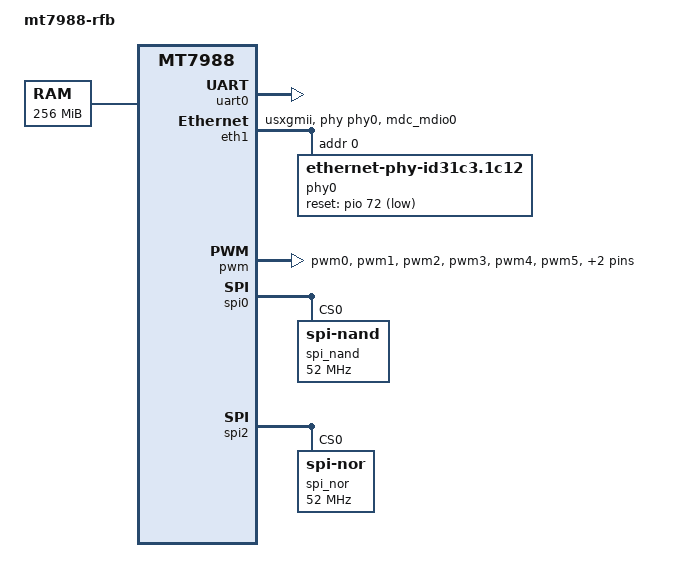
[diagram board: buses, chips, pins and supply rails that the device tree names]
// SPDX-License-Identifier: GPL-2.0
/*
 * Copyright (c) 2022 MediaTek Inc.
 * Author: Sam Shih <sam.shih@mediatek.com>
 */

/dts-v1/;
#include "mt7988.dtsi"
#include <dt-bindings/gpio/gpio.h>

/ {
	model = "mt7988-rfb";
	compatible = "mediatek,mt7988-rfb";
	chosen {
		stdout-path = &uart0;
	};

	memory@40000000 {
		device_type = "memory";
		reg = <0 0x40000000 0 0x10000000>;
	};
};

&uart0 {
	status = "okay";
};

&eth1 {
	status = "okay";
	pinctrl-names = "default";
	pinctrl-0 = <&mdio_pins>;
	phy-mode = "usxgmii";
	phy-handle = <&phy0>;

	mdio {
		clock-frequency = <10500000>;
	};

	phy0: eth-phy@0 {
		compatible = "ethernet-phy-id31c3.1c12";
		reg = <0>;
		reset-gpios = <&pio 72 GPIO_ACTIVE_LOW>;
		reset-assert-us = <100000>;
		reset-deassert-us = <221000>;
	};
};

&pio {
	mdio_pins: mdio_pins {
		conf-mdc {
			groups = "mdc_mdio0";
			drive-strength = <MTK_DRIVE_10mA>;
		};
	};

	pwm_pins: pwm-pins {
		mux {
			function = "pwm";
			groups = "pwm0", "pwm1", "pwm2", "pwm3", "pwm4",
				 "pwm5", "pwm6", "pwm7";
		};
	};
};

&pwm {
	pinctrl-names = "default";
	pinctrl-0 = <&pwm_pins>;
	status = "okay";
};

&spi0 {
	#address-cells = <1>;
	#size-cells = <0>;
	status = "okay";
	must_tx;
	enhance_timing;
	dma_ext;
	ipm_design;
	support_quad;
	tick_dly = <2>;
	sample_sel = <0>;

	spi_nand@0 {
		compatible = "spi-nand";
		reg = <0>;
		spi-max-frequency = <52000000>;
	};
};

&spi2 {
	#address-cells = <1>;
	#size-cells = <0>;
	status = "okay";
	must_tx;
	enhance_timing;
	dma_ext;
	ipm_design;
	support_quad;
	tick_dly = <2>;
	sample_sel = <0>;

	spi_nor@0 {
		compatible = "jedec,spi-nor";
		reg = <0>;
		spi-max-frequency = <52000000>;
	};
};
